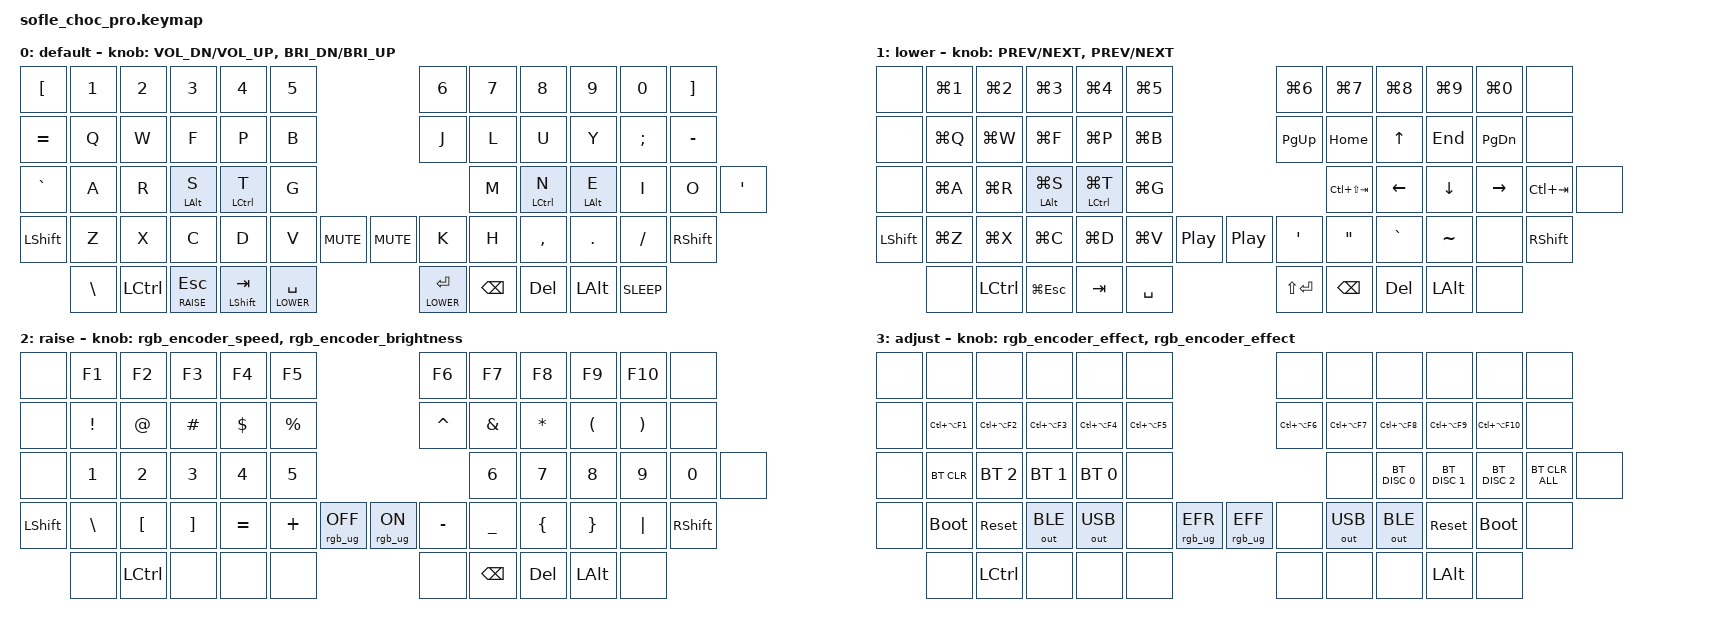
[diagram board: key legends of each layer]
/*
* Copyright (c) 2020 The ZMK Contributors
*
* SPDX-License-Identifier: MIT
*/

#include <behaviors.dtsi>
#include <dt-bindings/zmk/keys.h>
#include <dt-bindings/zmk/bt.h>
#include <dt-bindings/zmk/rgb.h>
#include <dt-bindings/zmk/ext_power.h>
#include <dt-bindings/zmk/outputs.h>

#define BASE 0
#define LOWER 1
#define RAISE 2
#define ADJUST 3

/ {
  behaviors {
    // Space: tap for space, hold for lower layer (200ms tapping term)
    spclo: space_lower {
      compatible = "zmk,behavior-hold-tap";
      #binding-cells = <2>;
      flavor = "tap-preferred";
      tapping-term-ms = <200>;
      quick-tap-ms = <0>;
      bindings = <&mo>, <&kp>;
    };

    // Esc: tap for esc, hold for raise layer (250ms tapping term)
    escra: esc_raise {
      compatible = "zmk,behavior-hold-tap";
      #binding-cells = <2>;
      flavor = "tap-preferred";
      tapping-term-ms = <250>;
      quick-tap-ms = <0>;
      bindings = <&mo>, <&kp>;
    };

    // Tab: tap for tab, hold for shift (200ms tapping term)
    tabsh: tab_shift {
      compatible = "zmk,behavior-hold-tap";
      #binding-cells = <2>;
      flavor = "tap-preferred";
      tapping-term-ms = <200>;
      quick-tap-ms = <0>;
      bindings = <&kp>, <&kp>;
    };

    // Home row mod: S - tap for S, hold for Alt (300ms tapping term)
    salt: s_alt {
      compatible = "zmk,behavior-hold-tap";
      #binding-cells = <2>;
      flavor = "tap-preferred";
      tapping-term-ms = <300>;
      quick-tap-ms = <0>;
      bindings = <&kp>, <&kp>;
    };

    // Home row mod: T - tap for T, hold for Ctrl (250ms tapping term)
    tctl: t_ctrl {
      compatible = "zmk,behavior-hold-tap";
      #binding-cells = <2>;
      flavor = "tap-preferred";
      tapping-term-ms = <250>;
      quick-tap-ms = <0>;
      bindings = <&kp>, <&kp>;
    };

    // Home row mod: N - tap for N, hold for Ctrl (250ms tapping term)
    nctl: n_ctrl {
      compatible = "zmk,behavior-hold-tap";
      #binding-cells = <2>;
      flavor = "tap-preferred";
      tapping-term-ms = <250>;
      quick-tap-ms = <0>;
      bindings = <&kp>, <&kp>;
    };

    // Home row mod: E - tap for E, hold for Alt (300ms tapping term)
    ealt: e_alt {
      compatible = "zmk,behavior-hold-tap";
      #binding-cells = <2>;
      flavor = "tap-preferred";
      tapping-term-ms = <300>;
      quick-tap-ms = <0>;
      bindings = <&kp>, <&kp>;
    };

    // Lower layer home row mod: S - tap for Super+S, hold for Alt (300ms tapping term)
    lgspsat: lg_s_alt {
      compatible = "zmk,behavior-hold-tap";
      #binding-cells = <2>;
      flavor = "tap-preferred";
      tapping-term-ms = <300>;
      quick-tap-ms = <0>;
      bindings = <&kp>, <&kp>;
    };

    // Lower layer home row mod: T - tap for Super+T, hold for Ctrl (250ms tapping term)
    lgsptct: lg_t_ctrl {
      compatible = "zmk,behavior-hold-tap";
      #binding-cells = <2>;
      flavor = "tap-preferred";
      tapping-term-ms = <250>;
      quick-tap-ms = <0>;
      bindings = <&kp>, <&kp>;
    };

    // Rotary encoder sensor-rotate behaviors for RGB controls
    rgb_encoder_brightness: rgb_encoder_brightness {
      compatible = "zmk,behavior-sensor-rotate";
      #sensor-binding-cells = <0>;
      bindings = <&rgb_ug RGB_BRD>, <&rgb_ug RGB_BRI>;
    };

    rgb_encoder_effect: rgb_encoder_effect {
      compatible = "zmk,behavior-sensor-rotate";
      #sensor-binding-cells = <0>;
      bindings = <&rgb_ug RGB_EFR>, <&rgb_ug RGB_EFF>;
    };

    rgb_encoder_speed: rgb_encoder_speed {
      compatible = "zmk,behavior-sensor-rotate";
      #sensor-binding-cells = <0>;
      bindings = <&rgb_ug RGB_SPD>, <&rgb_ug RGB_SPI>;
    };

    rgb_encoder_hue: rgb_encoder_hue {
      compatible = "zmk,behavior-sensor-rotate";
      #sensor-binding-cells = <0>;
      bindings = <&rgb_ug RGB_HUD>, <&rgb_ug RGB_HUI>;
    };

    rgb_encoder_saturation: rgb_encoder_saturation {
      compatible = "zmk,behavior-sensor-rotate";
      #sensor-binding-cells = <0>;
      bindings = <&rgb_ug RGB_SAD>, <&rgb_ug RGB_SAI>;
    };
  };

  // Activate ADJUST layer by pressing raise and lower
  conditional_layers {
    compatible = "zmk,conditional-layers";
    adjust_layer {
      if-layers = <LOWER RAISE>;
      then-layer = <ADJUST>;
    };
  };

  keymap {
    compatible = "zmk,keymap";

    default_layer {
      display-name = "default";
      // ------------------------------------------------------------------------------------------------------------
      // Colemak DH layout matching Kanata configuration
      // |   [   |  1  |  2  |  3   |  4   |  5   |                   |  6   |  7    |  8    |  9   |   0   |   ]   |
      // |   =   |  Q  |  W  |  F   |  P   |  B   |                   |  J   |  L    |  U    |  Y   |   ;   |   -   |
      // |   `   |  A  |  R  | S/ALT|T/CTRL|  G   |                   |  M   |N/CTRL |E/ALT  |  I   |   O   |   '   |
      // | SHIFT |  Z  |  X  |  C   |  D   |  V   | VOL_MUT| | MIC_MUT|  K   |  H    |  ,    |  .   |   /   | SHIFT |
      //               |  \   | CTRL|ESC/RA|TB/SFT|SPC/LOW |  |RET/LOW| BKSPC | DEL  |  ALT  | SLEEP |
      bindings = <
        &kp LBKT        &kp N1    &kp N2     &kp N3                &kp N4                   &kp N5                                &kp N6                   &kp N7                 &kp N8    &kp N9    &kp N0    &kp RBKT
        &kp EQUAL       &kp Q     &kp W      &kp F                 &kp P                    &kp B                                 &kp J                    &kp L                  &kp U     &kp Y     &kp SEMI  &kp MINUS
        &kp GRAVE       &kp A     &kp R      &salt LALT S          &tctl LCTRL T            &kp G                                 &kp M                    &nctl LCTRL N          &ealt LALT E     &kp I     &kp O     &kp SQT
        &kp LSHFT       &kp Z     &kp X      &kp C                 &kp D                    &kp V      &kp C_MUTE   &kp C_MUTE   &kp K                    &kp H                  &kp COMMA &kp DOT   &kp FSLH  &kp RSHFT
                        &kp BSLH  &kp LCTRL  &escra RAISE ESC      &tabsh LSHFT TAB         &spclo LOWER SPACE                    &spclo LOWER RET         &kp BSPC               &kp DEL   &kp LALT  &kp C_SLEEP
      >;

      sensor-bindings = <&inc_dec_kp C_VOL_DN C_VOL_UP &inc_dec_kp C_BRI_DN C_BRI_UP>;
    };

    lower_layer {
      display-name = "lower";
      // ------------------------------------------------------------------------------------------------------------
      // Colemak DH positions: Super+letter keys follow the Colemak DH layout
      // |   X   | LG(1) | LG(2) | LG(3) | LG(4) | LG(5) |                   | LG(6) | LG(7) | LG(8) | LG(9) | LG(0) |   X   |
      // |   X   | LG(Q) | LG(W) | LG(F) | LG(P) | LG(B) |                   | PGUP  | HOME  |  UP   |  END  | PGDN  |   X   |
      // |   X   | LG(A) | LG(R) |LGS/ALT|LGT/CTL| LG(G) |                   |C-S-TAB| LEFT  | DOWN  | RIGHT |C-TAB  |   X   |
      // | SHIFT | LG(Z) | LG(X) | LG(C) | LG(D) | LG(V) | PLAY |  | PLAY  |   '   |   "   |   `   |   ~   |   X   | SHIFT |
      //               |  X    | CTRL  |LG(ESC)| TAB   | SPACE  |  |S-RET  | BKSPC | DEL   | ALT   |   X   |
      bindings = <
        &none          &kp LG(N1)  &kp LG(N2)  &kp LG(N3)            &kp LG(N4)               &kp LG(N5)                        &kp LG(N6)       &kp LG(N7)  &kp LG(N8)  &kp LG(N9)  &kp LG(N0)  &none
        &none          &kp LG(Q)   &kp LG(W)   &kp LG(F)             &kp LG(P)                &kp LG(B)                         &kp PG_UP        &kp HOME    &kp UP      &kp END     &kp PG_DN   &none
        &none          &kp LG(A)   &kp LG(R)   &lgspsat LALT LG(S)   &lgsptct LCTRL LG(T)     &kp LG(G)                         &kp LC(LS(TAB))  &kp LEFT    &kp DOWN    &kp RIGHT   &kp LC(TAB)  &none
        &kp LSHFT      &kp LG(Z)   &kp LG(X)   &kp LG(C)             &kp LG(D)                &kp LG(V)  &kp C_PP &kp C_PP      &kp SQT          &kp DQT     &kp GRAVE   &kp TILDE   &none       &kp RSHFT
                       &none       &kp LCTRL   &kp LG(ESC)           &kp TAB                  &kp SPACE                         &kp LS(RET)      &kp BSPC    &kp DEL     &kp LALT    &none
      >;

      sensor-bindings = <&inc_dec_kp C_PREV C_NEXT &inc_dec_kp C_PREV C_NEXT>;
    };

    raise_layer {
      display-name = "raise";
      // ------------------------------------------------------------------------------------------------------------
      // Number row: Function keys F1-F10 (columns 2-11)
      // QWERTY row: Symbols !@#$%^&*()
      // Home row: Numbers 1234567890
      // Bottom row: Brackets and symbols \, [, ], =, +, -, _, {, }, |
      // |   X   |  F1  |  F2  |  F3   |  F4   |  F5  |                |  F6  |  F7  |  F8   | F9   |  F10  |   X   |
      // |   X   |  !   |  @   |   #   |   $   |   %  |                |  ^   |  &   |   *   |  (   |   )   |   X   |
      // |   X   |  1   |  2   |   3   |   4   |   5  |                |  6   |  7   |   8   |  9   |   0   |   X   |
      // | SHIFT |  \   |  [   |   ]   |   =   |   +  | RGB_OFF| |RGB_ON |  -   |  _   |   {   |  }   |   |   | SHIFT |
      //                |  X    | CTRL |   X   |  X   |   X   |  |   X   | BKSPC | DEL  | ALT   |   X   |
      bindings = <
        &none       &kp F1      &kp F2      &kp F3      &kp F4      &kp F5                            &kp F6       &kp F7       &kp F8       &kp F9       &kp F10      &none
        &none       &kp EXCL    &kp AT      &kp HASH    &kp DLLR    &kp PRCNT                         &kp CARET    &kp AMPS     &kp STAR     &kp LPAR     &kp RPAR     &none
        &none       &kp N1      &kp N2      &kp N3      &kp N4      &kp N5                            &kp N6       &kp N7       &kp N8       &kp N9       &kp N0       &none
        &kp LSHFT   &kp BSLH    &kp LBKT    &kp RBKT    &kp EQUAL   &kp PLUS   &rgb_ug RGB_OFF &rgb_ug RGB_ON   &kp MINUS    &kp UNDER    &kp LBRC     &kp RBRC     &kp PIPE     &kp RSHFT
                    &none       &kp LCTRL   &none       &none       &none                             &none        &kp BSPC     &kp DEL      &kp LALT     &none
      >;

      sensor-bindings = <&rgb_encoder_speed &rgb_encoder_brightness>;
    };

    adjust_layer {
      // ----------------------------------------------------------------------------------------------------------------------------
      // |   X   |   X   |   X   |   X   |   X   |   X   |                  |   X   |   X   |   X   |   X   |   X   |   X   |
      // |   X   | CA-F1 | CA-F2 | CA-F3 | CA-F4 | CA-F5 |                  | CA-F6 | CA-F7 | CA-F8 | CA-F9 |CA-F10 |   X   |
      // |   X   | CLR   | BT_2  | BT_1  | BT_0  |   X   |                  |   X   | DS_0  | DS_1  | DS_2  | CLALL |   X   |
      // |   X   | BOOT  | RESET |O_BLE  |O_USB  |   X   | RGB_EFR| |RGB_EFF|   X   |O_USB  |O_BLE  | RESET | BOOT  |   X   |
      //                 |  X    | CTRL  |   X   |   X   |   X    |  |   X   |   X   |   X   | ALT   |   X   |
      display-name = "adjust";
      bindings = <
        &none              &none             &none             &none          &none          &none                            &none           &none           &none           &none           &none           &none
        &none              &kp LC(LA(F1))    &kp LC(LA(F2))    &kp LC(LA(F3)) &kp LC(LA(F4)) &kp LC(LA(F5))                   &kp LC(LA(F6))  &kp LC(LA(F7))  &kp LC(LA(F8))  &kp LC(LA(F9))  &kp LC(LA(F10)) &none
        &none              &bt BT_CLR        &bt BT_SEL 2      &bt BT_SEL 1   &bt BT_SEL 0   &none                            &none           &bt BT_DISC 0   &bt BT_DISC 1   &bt BT_DISC 2   &bt BT_CLR_ALL  &none
        &none              &bootloader       &sys_reset        &out OUT_BLE   &out OUT_USB   &none  &rgb_ug RGB_EFR &rgb_ug RGB_EFF  &none           &out OUT_USB    &out OUT_BLE    &sys_reset      &bootloader     &none
                           &none             &kp LCTRL         &none          &none          &none                            &none           &none           &none           &kp LALT        &none
      >;

      sensor-bindings = <&rgb_encoder_effect &rgb_encoder_effect>;
    };
  };
};
